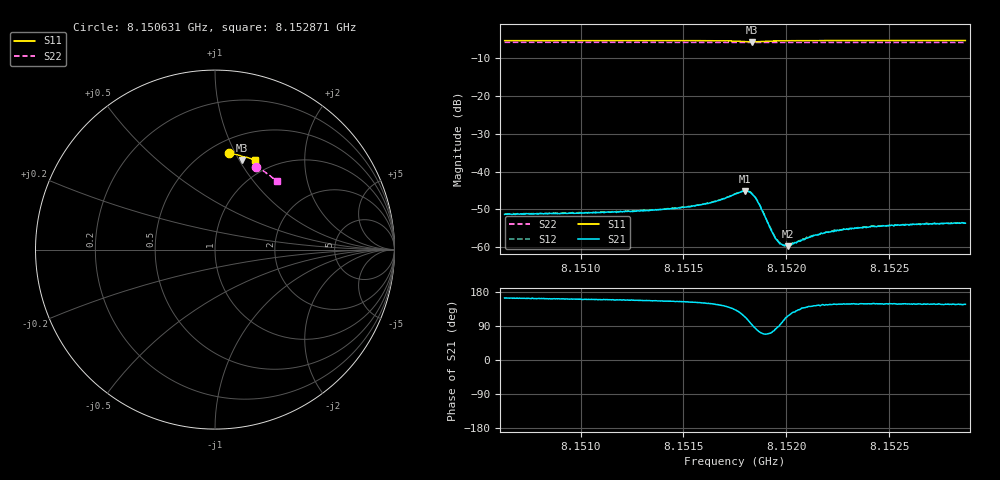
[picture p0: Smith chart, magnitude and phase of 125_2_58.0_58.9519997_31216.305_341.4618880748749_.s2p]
#  HZ  S  RI  R  50.00
! Rohde & Schwarz Vector Network Analyzer
! Rohde-Schwarz,ZNB20-2Port,1311601062101988,3.16
! Created: UTC 3/21/2024, 12:55:53 AM
! freq[Hz]  re:S11  im:S11  re:S21  im:S21  re:S12  im:S12  re:S22  im:S22
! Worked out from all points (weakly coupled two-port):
!   401 points, 8.150631 GHz to 8.152871 GHz, reference 50 ohm
!   highest |S21| = -45.09 dB at 8.151801 GHz (marker M1); lowest = -59.7 dB at 8.152009 GHz (marker M2)
!   lowest |S11| = -5.6 dB at 8.151835 GHz (marker M3), VSWR 3.18, Z = 37.6 + j51.5 ohm
!   |S11| at or under -10 dB: nowhere
!   |S22| runs from -5.8 to -5.8 dB; largest |S21 - S12| = 0.00014
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8.1506308e9  0.0766 0.5365  -0.00261 0.000768  -0.00264 0.000851  0.227 0.4622
8.1510061e9  0.1033 0.5326  -0.00267 0.000974  -0.00268 0.000956  0.2484 0.4508
8.1513814e9  0.1302 0.5269  -0.00287 0.00128  -0.00286 0.00131  0.2691 0.4379
8.151527e9  0.1414 0.5237  -0.00305 0.00156  -0.00308 0.00163  0.277 0.4328
8.1516166e9  0.1488 0.5209  -0.00326 0.00194  -0.00329 0.002  0.2817 0.4294
8.1516782e9  0.1543 0.5178  -0.00345 0.00243  -0.00344 0.00248  0.285 0.4272
8.151751e9  0.1602 0.5104  -0.0034 0.00369  -0.00338 0.00383  0.2889 0.4241
8.1518015e9  0.1588 0.5015  -0.00214 0.00514  -0.00209 0.00521  0.2912 0.4221
8.1518183e9  0.1559 0.4994  -0.00122 0.00531  -0.00113 0.00538  0.2917 0.4214
8.1518351e9  0.1519 0.4992  -0.000175 0.00504  -0.000142 0.0051  0.2924 0.421
8.1518631e9  0.1473 0.5035  0.000889 0.00383  0.000951 0.00387  0.2938 0.4201
8.1519303e9  0.1516 0.5137  0.00047 0.00154  0.000528 0.00155  0.2975 0.418
8.1519527e9  0.1543 0.515  0.000144 0.00125  0.000158 0.0013  0.2987 0.4173
8.1519639e9  0.1557 0.5153  3.62e-05 0.00117  -7.68e-06 0.00116  0.2993 0.4167
8.1519807e9  0.1577 0.5158  -0.000182 0.00107  -0.000167 0.00108  0.3002 0.4162
8.1520087e9  0.1608 0.516  -0.000459 0.000926  -0.000446 0.000972  0.3017 0.4152
8.1521263e9  0.1715 0.515  -0.00109 0.000855  -0.00112 0.00088  0.3078 0.4104
8.1521823e9  0.176 0.5139  -0.00127 0.000871  -0.00127 0.000906  0.3107 0.4081
8.1522832e9  0.1836 0.5119  -0.00147 0.000929  -0.00147 0.00097  0.3158 0.4042
8.1525016e9  0.1989 0.5067  -0.00167 0.00101  -0.00166 0.00104  0.3264 0.3952
8.1526865e9  0.2114 0.5021  -0.00172 0.00108  -0.00172 0.00115  0.3354 0.3873
8.1528713e9  0.2237 0.4972  -0.00174 0.00114  -0.00174 0.00119  0.3441 0.3794
